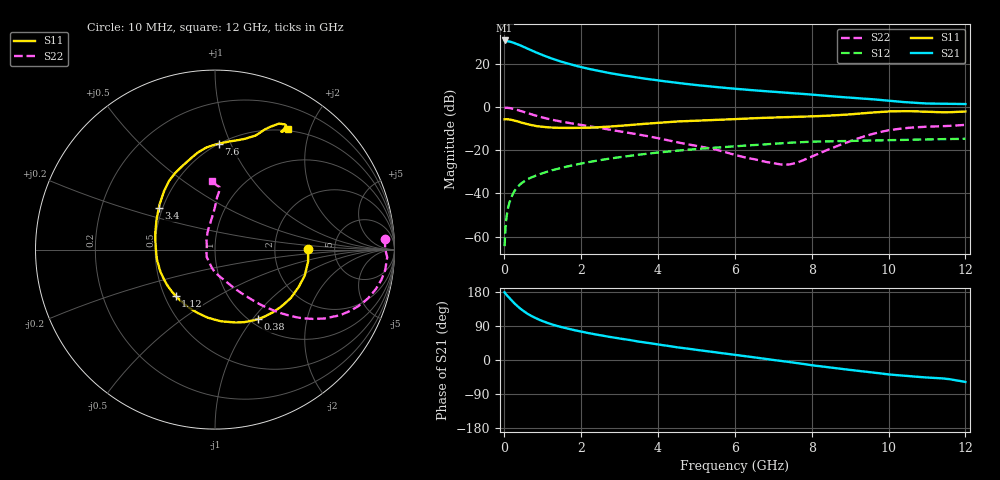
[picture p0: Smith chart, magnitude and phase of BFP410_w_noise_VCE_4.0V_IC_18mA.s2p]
! Infineon Technologies  Discrete & RF Semiconductors
! BFP410
! VCE =  4.0 V,  IC =  18 mA
! Common Emitter S-Parameters:  Nov 2015
# GHz  S  MA  R  50
!  f  S11  S21  S12  S22
! GHz  MAG  ANG  MAG  ANG  MAG  ANG  MAG  ANG
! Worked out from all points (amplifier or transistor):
!   243 points, 10 MHz to 12 GHz, reference 50 ohm
!   highest |S21| = 30.8 dB at 10 MHz (marker M1)
!   |S21| within 3 dB of that: start of sweep to 510.3 MHz
!   unconditionally stable (mu >= 1): start of sweep to 25.37 MHz; 1.983 GHz to end of sweep
!   at 240 MHz: K = 0.30, MSG = 34.7 dB, |S12| = -39.7 dB
!   at 1.84 GHz: K = 0.97, MSG = 23.0 dB, |S12| = -26.8 dB
!   at 12 GHz: K = 1.02, MAG = 7.1 dB, |S12| = -14.7 dB
!   lowest NFmin = 1.63 dB at 900 MHz
!   S11 on the Smith chart (normalised r, x): 10 MHz: 3.16, +0.03; 380 MHz: 1.09, -1.06; 1.12 GHz: 0.57, -0.33; 3.4 GHz: 0.48, +0.26; 7.6 GHz: 0.50, +0.90; 12 GHz: 0.48, +1.68
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0.01  0.5189 0.4  34.62 178.6  0.0006 47.7  0.9484 3.7
0.02  0.5188 -1.9  34.2 176.5  0.001 74.5  0.9484 0.1
0.07  0.5206 -11.0  33.42 170.8  0.0033 77.2  0.9577 -4.2
0.105  0.519 -17.0  33.12 167.0  0.0048 77.0  0.9538 -7.1
0.2  0.5014 -32.3  31.61 156.5  0.0087 74.9  0.923 -13.7
0.3  0.4752 -47.5  29.47 146.2  0.0125 71.0  0.8755 -19.8
0.38  0.454 -58.5  27.56 139.0  0.0151 68.4  0.8332 -23.8
0.5  0.4227 -74.0  24.75 129.4  0.0185 65.3  0.7696 -28.8
0.6  0.4007 -85.3  22.53 122.4  0.021 63.3  0.7205 -32.2
0.7  0.3818 -95.9  20.56 116.5  0.0233 61.9  0.676 -34.9
0.9  0.355 -114.0  17.23 106.6  0.0274 60.1  0.6016 -39.1
1.12  0.3385 -130.5  14.43 98.1  0.0318 58.9  0.5369 -42.5
1.48  0.3279 -151.7  11.22 87.1  0.0388 57.6  0.4596 -46.6
2.02  0.3281 -175.4  8.307 74.6  0.0495 55.2  0.3822 -51.3
2.6  0.3458 164.1  6.433 63.4  0.0609 51.6  0.3129 -56.1
3.4  0.3902 143.3  4.891 50.4  0.0765 45.9  0.2383 -63.6
4.1  0.437 129.6  4.009 39.6  0.09 40.4  0.1817 -72.2
6.1  0.5284 104.3  2.596 12.4  0.1245 23.6  0.0739 -118.0
7.6  0.59 88.1  2.06 -7.9  0.1513 9.7  0.0505 154.9
8.2  0.6158 80.0  1.866 -16.3  0.1584 2.9  0.085 121.7
10.2  0.793 61.9  1.346 -39.8  0.1708 -13.4  0.3054 86.9
12  0.7858 58.6  1.168 -57.9  0.1839 -29.2  0.385 92.7
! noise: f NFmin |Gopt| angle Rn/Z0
0.45  1.66  0.11  -153  0.17
0.9  1.63  0.12  -155  0.16
1.8  1.76  0.16  -140  0.17
2.4  1.75  0.21  -123  0.24
5.5  2.63  0.42  -104  0.39
10  3.74  0.69  -46  2.37
